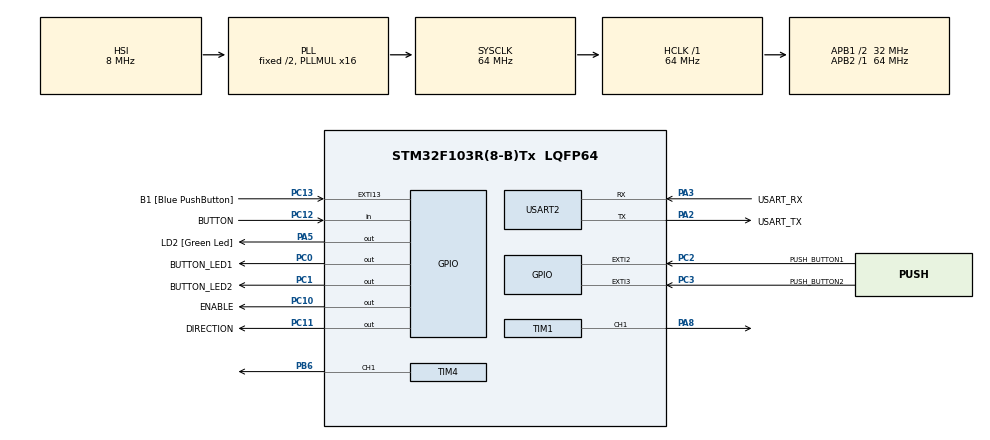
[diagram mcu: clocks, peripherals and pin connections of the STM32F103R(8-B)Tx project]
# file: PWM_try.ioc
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Dma.Request0=TIM1_CH1
Dma.TIM1_CH1.0.Direction=DMA_MEMORY_TO_PERIPH
Dma.TIM1_CH1.0.Instance=DMA1_Channel2
Dma.TIM1_CH1.0.MemDataAlignment=DMA_MDATAALIGN_HALFWORD
Dma.TIM1_CH1.0.MemInc=DMA_MINC_ENABLE
Dma.TIM1_CH1.0.Mode=DMA_NORMAL
Dma.TIM1_CH1.0.PeriphDataAlignment=DMA_PDATAALIGN_HALFWORD
Dma.TIM1_CH1.0.PeriphInc=DMA_PINC_DISABLE
Dma.TIM1_CH1.0.Priority=DMA_PRIORITY_LOW
Mcu.Family=STM32F1
Mcu.Name=STM32F103R(8-B)Tx
Mcu.Package=LQFP64
NVIC.DMA1_Channel2_IRQn=true\:0\:0\:false\:false\:true\:false\:true\:true
NVIC.EXTI15_10_IRQn=true\:0\:0\:false\:false\:true\:true\:true\:true
NVIC.EXTI2_IRQn=true\:0\:0\:true\:false\:true\:true\:true\:true
NVIC.EXTI3_IRQn=true\:0\:0\:true\:false\:true\:true\:true\:true
NVIC.PriorityGroup=NVIC_PRIORITYGROUP_4
NVIC.TIM4_IRQn=true\:0\:0\:true\:false\:true\:true\:true\:true
PA13.GPIO_Label=TMS
PA13.Mode=Serial_Wire
PA13.Signal=SYS_JTMS-SWDIO
PA14.GPIO_Label=TCK
PA14.Mode=Serial_Wire
PA14.Signal=SYS_JTCK-SWCLK
PA2.GPIO_Label=USART_TX
PA2.GPIO_Mode=GPIO_MODE_AF_PP
PA2.GPIO_PuPd=GPIO_NOPULL
PA2.GPIO_Speed=GPIO_SPEED_FREQ_LOW
PA2.Mode=Asynchronous
PA2.Signal=USART2_TX
PA3.GPIO_Label=USART_RX
PA3.GPIO_Mode=GPIO_MODE_AF_PP
PA3.GPIO_PuPd=GPIO_NOPULL
PA3.GPIO_Speed=GPIO_SPEED_FREQ_LOW
PA3.Mode=Asynchronous
PA3.Signal=USART2_RX
PA5.GPIO_Label=LD2 [Green Led]
PA5.GPIO_ModeDefaultOutputPP=GPIO_MODE_OUTPUT_PP
PA5.GPIO_PuPd=GPIO_NOPULL
PA5.GPIO_Speed=GPIO_SPEED_FREQ_LOW
PA5.Signal=GPIO_Output
PA8.Signal=S_TIM1_CH1
PB3.GPIO_Label=SWO
PB3.Signal=SYS_JTDO-TRACESWO
PB6.Signal=S_TIM4_CH1
PC0.GPIO_Label=BUTTON_LED1
PC0.Signal=GPIO_Output
PC1.GPIO_Label=BUTTON_LED2
PC1.Signal=GPIO_Output
PC10.GPIO_Label=ENABLE
PC10.Signal=GPIO_Output
PC11.GPIO_Label=DIRECTION
PC11.Signal=GPIO_Output
PC12.GPIO_Label=BUTTON
PC12.GPIO_PuPd=GPIO_PULLUP
PC12.Signal=GPIO_Input
PC13-TAMPER-RTC.GPIO_Label=B1 [Blue PushButton]
PC13-TAMPER-RTC.GPIO_PuPd=GPIO_NOPULL
PC13-TAMPER-RTC.Signal=GPXTI13
PC14-OSC32_IN.Mode=LSE-External-Oscillator
PC14-OSC32_IN.Signal=RCC_OSC32_IN
PC15-OSC32_OUT.Mode=LSE-External-Oscillator
PC15-OSC32_OUT.Signal=RCC_OSC32_OUT
PC2.GPIO_Label=PUSH_BUTTON1
PC2.GPIO_ModeDefaultEXTI=GPIO_MODE_IT_FALLING
PC2.GPIO_PuPd=GPIO_PULLUP
PC2.Signal=GPXTI2
PC3.GPIO_Label=PUSH_BUTTON2
PC3.GPIO_ModeDefaultEXTI=GPIO_MODE_IT_FALLING
PC3.GPIO_PuPd=GPIO_PULLUP
PC3.Signal=GPXTI3
PD0-OSC_IN.Mode=HSE-External-Clock-Source
PD0-OSC_IN.Signal=RCC_OSC_IN
PD1-OSC_OUT.Mode=HSE-External-Clock-Source
PD1-OSC_OUT.Signal=RCC_OSC_OUT
ProjectManager.HeapSize=0x200
ProjectManager.StackSize=0x400
ProjectManager.TargetToolchain=STM32CubeIDE
RCC.AHBFreq_Value=64000000
RCC.APB1CLKDivider=RCC_HCLK_DIV2
RCC.APB1Freq_Value=32000000
RCC.APB1TimFreq_Value=64000000
RCC.APB2Freq_Value=64000000
RCC.APB2TimFreq_Value=64000000
RCC.HCLKFreq_Value=64000000
RCC.PLLMUL=RCC_PLL_MUL16
RCC.RTCClockSelection=RCC_RTCCLKSOURCE_LSE
RCC.SYSCLKFreq_VALUE=64000000
RCC.SYSCLKSource=RCC_SYSCLKSOURCE_PLLCLK
RCC.USBFreq_Value=64000000
SH.S_TIM1_CH1.0=TIM1_CH1,PWM Generation1 CH1
SH.S_TIM4_CH1.0=TIM4_CH1,PWM Generation1 CH1
TIM1.Channel-PWM\ Generation1\ CH1=TIM_CHANNEL_1
TIM1.Period=159
TIM4.Channel-PWM\ Generation1\ CH1=TIM_CHANNEL_1
TIM4.Period=99
TIM4.Prescaler=63999
TIM4.Pulse-PWM\ Generation1\ CH1=50
USART2.VirtualMode=VM_ASYNC
board=NUCLEO-F103RB

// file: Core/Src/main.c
/* USER CODE BEGIN Header */
/**
  ******************************************************************************
  * @file           : main.c
  * @brief          : Main program body
  ******************************************************************************
  * @attention
  *
  * Copyright (c) 2024 STMicroelectronics.
  * All rights reserved.
  *
  * This software is licensed under terms that can be found in the LICENSE file
  * in the root directory of this software component.
  * If no LICENSE file comes with this software, it is provided AS-IS.
  *
  ******************************************************************************
  */
/* USER CODE END Header */
#include "main.h"
#include "dma.h"
#include "tim.h"
#include "usart.h"
#include "gpio.h"

/* USER CODE BEGIN Includes */
#include "motor_lib.h"
#include "leds_effects.h"
#include "game.h"
/* USER CODE END Includes */

/* USER CODE BEGIN PTD */
Motor_HandleTypeDef hMotor;
Leds_HandleTypeDef hLeds;
/* USER CODE END PTD */

/* USER CODE BEGIN PV */
extern int32_t target_position;
extern const uint16_t speed;
extern const uint16_t jump;
/* USER CODE END PV */

void SystemClock_Config(void);

int main(void)
{

  /* MCU Configuration--------------------------------------------------------*/

  /* Reset of all peripherals, Initializes the Flash interface and the Systick. */
  HAL_Init();

  /* Configure the system clock */
  SystemClock_Config();

  /* Initialize all configured peripherals */
  MX_GPIO_Init();
  MX_DMA_Init();
  MX_USART2_UART_Init();
  MX_TIM4_Init();
  MX_TIM1_Init();
  /* USER CODE BEGIN 2 */
  HAL_SYSTICK_Config(HAL_RCC_GetHCLKFreq() / 1000);
  Motor_Init(&hMotor, &htim4, TIM_CHANNEL_1, ENABLE_GPIO_Port, ENABLE_Pin, DIRECTION_GPIO_Port, DIRECTION_Pin, BUTTON_GPIO_Port, BUTTON_Pin);
  PushButtons_Init(&hLeds, BUTTON_LED1_GPIO_Port, BUTTON_LED1_Pin, BUTTON_LED2_GPIO_Port, BUTTON_LED2_Pin, PUSH_BUTTON1_GPIO_Port, PUSH_BUTTON1_Pin, PUSH_BUTTON2_GPIO_Port, PUSH_BUTTON2_Pin);
  Reset_LEDs();
  Motor_Enable(&hMotor, 1); // Turn Motor ON
  //Led_Start();
  /* USER CODE END 2 */

  /* Infinite loop */
  /* USER CODE BEGIN WHILE */
  while (1)
  {
	  Set_LED(0, 0, 55, 0);
	  Set_LED(1, 0, 55, 0);
	  Set_Brightness(45);
	  WS2812_Send();
	  //Game_Update(&hMotor, &hLeds, &target_position, jump, &speed);
	  //LED_EffectSnakePro();
  }
    /* USER CODE END WHILE */

}

void SystemClock_Config(void)
{
  RCC_OscInitTypeDef RCC_OscInitStruct = {0};
  RCC_ClkInitTypeDef RCC_ClkInitStruct = {0};

  /** Initializes the RCC Oscillators according to the specified parameters
  * in the RCC_OscInitTypeDef structure.
  */
  RCC_OscInitStruct.OscillatorType = RCC_OSCILLATORTYPE_HSI;
  RCC_OscInitStruct.HSIState = RCC_HSI_ON;
  RCC_OscInitStruct.HSICalibrationValue = RCC_HSICALIBRATION_DEFAULT;
  RCC_OscInitStruct.PLL.PLLState = RCC_PLL_ON;
  RCC_OscInitStruct.PLL.PLLSource = RCC_PLLSOURCE_HSI_DIV2;
  RCC_OscInitStruct.PLL.PLLMUL = RCC_PLL_MUL16;
  if (HAL_RCC_OscConfig(&RCC_OscInitStruct) != HAL_OK)
  {
    Error_Handler();
  }

  /** Initializes the CPU, AHB and APB buses clocks
  */
  RCC_ClkInitStruct.ClockType = RCC_CLOCKTYPE_HCLK|RCC_CLOCKTYPE_SYSCLK
                              |RCC_CLOCKTYPE_PCLK1|RCC_CLOCKTYPE_PCLK2;
  RCC_ClkInitStruct.SYSCLKSource = RCC_SYSCLKSOURCE_PLLCLK;
  RCC_ClkInitStruct.AHBCLKDivider = RCC_SYSCLK_DIV1;
  RCC_ClkInitStruct.APB1CLKDivider = RCC_HCLK_DIV2;
  RCC_ClkInitStruct.APB2CLKDivider = RCC_HCLK_DIV1;

  if (HAL_RCC_ClockConfig(&RCC_ClkInitStruct, FLASH_LATENCY_2) != HAL_OK)
  {
    Error_Handler();
  }
}

void Error_Handler(void)
{
  __disable_irq();
  while (1)
  {
  }
}
